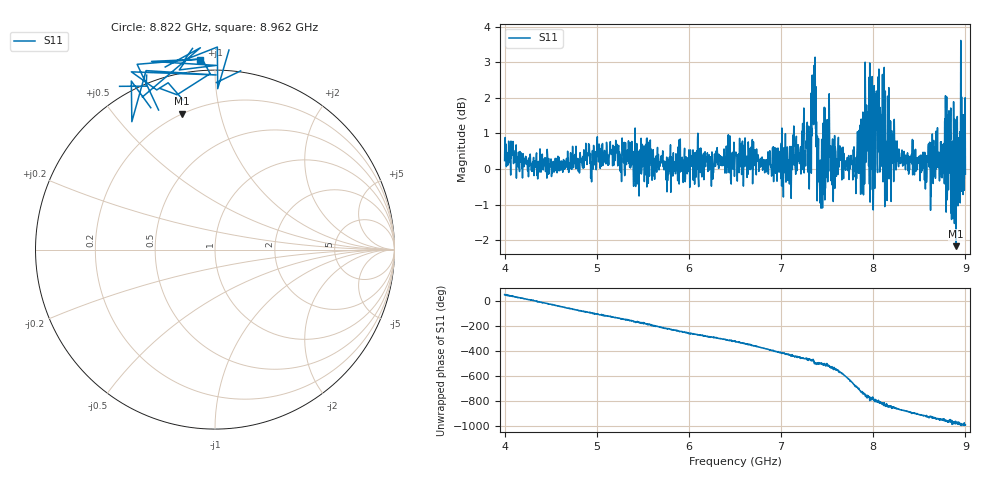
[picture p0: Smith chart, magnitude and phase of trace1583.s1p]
! Created with skrf 1.8.0 (http://scikit-rf.org).
# Hz S RI R 50.0
!freq ReS11 ImS11
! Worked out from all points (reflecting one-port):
!   1601 points, 4 GHz to 9 GHz, reference 50 ohm
!   lowest |S11| = -2.2 dB at 8.9 GHz (marker M1), VSWR 8.08, Z = 9.9 + j38.2 ohm
!   phase of S11 starts at 52 deg and turns -1047 deg over the sweep
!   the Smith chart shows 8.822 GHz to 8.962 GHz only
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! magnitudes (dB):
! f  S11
! 4 GHz  0.2
! 4.625 GHz  0.0
! 5.25 GHz  0.0
! 5.875 GHz  0.2
! 6.5 GHz  0.3
! 7.125 GHz  0.4
! 7.309 GHz  1.0
! 7.359 GHz  2.9
! 7.381 GHz  0.6
! 7.409 GHz  -0.4
! 7.428 GHz  -0.5
! 7.503 GHz  1.0
! 7.559 GHz  0.8
! 7.75 GHz  0.1
! 7.881 GHz  0.0
! 7.938 GHz  1.1
! 7.997 GHz  0.7
! 8.05 GHz  2.6
! 8.128 GHz  0.9
! 8.178 GHz  1.3
! 8.197 GHz  0.4
! 8.375 GHz  0.2
! 8.725 GHz  0.3
! 8.8 GHz  -0.4
! 8.869 GHz  -1.4
! 8.9 GHz  -2.2
! 8.972 GHz  0.0
! 9 GHz  -0.1
